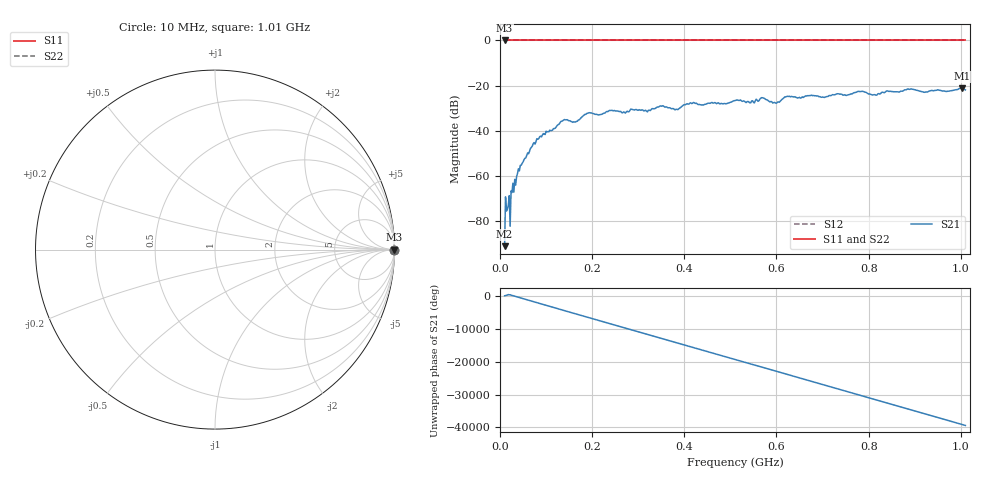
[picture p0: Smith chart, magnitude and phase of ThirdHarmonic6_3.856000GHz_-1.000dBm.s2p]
! 8/17/2025 1:27:59 PM
! C:\ANRITSUVNA\TEMP\TEMP.S2P
! CHANNEL.1
! TR.MEASUREMENT
! RAW.DATA
! RF.CORRECTION.OFF
! AVERAGING.OFF
! IF.BANDWIDTH: 5KHZ
! SWEEPTYPE:  FREQ.SWEEP(Linear)
! Reference Plane Port Info
! PORT:  PORT1  PORT2
! DISTANCE:  0  m  0  m
! TIME:  0  s  0  s
! PHASE.OFFSET:  0  deg.  0  deg.
! LOSS:  0  dB  0  dB
! REF.LOSS:  0  dB  0  dB
! REF.FREQ:  0  Hz  0  Hz
! Power Info
! POWER:  -20  dBm  -20  dBm
! EFF.POWER:  -20  dBm  -20  dBm
! SOURCE.ATTEN:  0  dB  0  dB
! TEST.ATTEN:  0  dB  0  dB
# GHZ S RI R 50.0
! FREQ.GHZ  S11RE  S11IM  S21RE  S21IM  S12RE  S12IM  S22RE  S22IM
!; PortSelection: Port_12
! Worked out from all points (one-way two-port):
!   501 points, 10 MHz to 1.01 GHz, reference 50 ohm
!   highest |S21| = -21.15 dB at 1.002 GHz (marker M1); lowest = -91.1 dB at 10 MHz (marker M2)
!   lowest |S11| = 0.0 dB at 10 MHz (marker M3)
!   |S11| at or under -10 dB: nowhere
!   |S22| runs from 0.0 to 0.0 dB; largest |S21 - S12| = 1.1
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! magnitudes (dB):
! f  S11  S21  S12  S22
! 10 MHz  0.0  -91.1  0.0  0.0
! 16 MHz  0.0  -74.6  0.0  0.0
! 18 MHz  0.0  -73.1  0.0  0.0
! 26 MHz  0.0  -67.3  0.0  0.0
! 28 MHz  0.0  -63.2  0.0  0.0
! 42 MHz  0.0  -57.8  0.0  0.0
! 76 MHz  0.0  -45.9  0.0  0.0
! 136 MHz  0.0  -35.6  0.0  0.0
! 162 MHz  0.0  -36.1  0.0  0.0
! 178 MHz  0.0  -33.9  0.0  0.0
! 194 MHz  0.0  -32.0  0.0  0.0
! 344 MHz  0.0  -29.5  0.0  0.0
! 384 MHz  0.0  -30.5  0.0  0.0
! 416 MHz  0.0  -27.9  0.0  0.0
! 510 MHz  0.0  -26.6  0.0  0.0
! 570 MHz  0.0  -25.4  0.0  0.0
! 596 MHz  0.0  -27.4  0.0  0.0
! 622 MHz  0.0  -24.8  0.0  0.0
! 678 MHz  0.0  -24.4  0.0  0.0
! 844 MHz  0.0  -22.6  0.0  0.0
! 1.002 GHz  0.0  -21.2  0.0  0.0
! 1.01 GHz  0.0  -21.9  0.0  0.0
